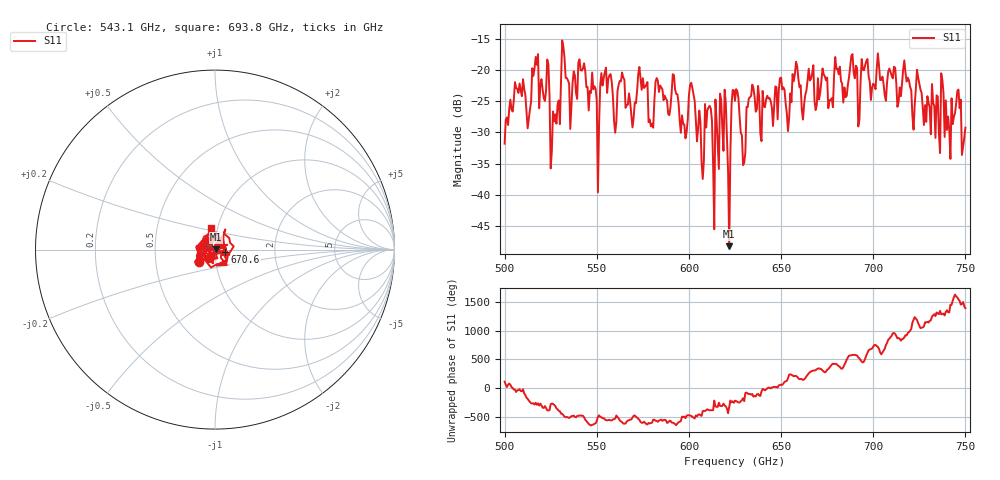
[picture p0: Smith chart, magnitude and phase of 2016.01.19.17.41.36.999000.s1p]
!Created with skrf (http://scikit-rf.org).
# GHz S RI R 50.0
!freq ReS11 ImS11
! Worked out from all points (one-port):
!   401 points, 500 GHz to 750 GHz, reference 50 ohm
!   lowest |S11| = -48.2 dB at 621.9 GHz (marker M1), VSWR 1.01, Z = 50.3 + j0.215 ohm
!   |S11| at or under -10 dB: start of sweep to end of sweep
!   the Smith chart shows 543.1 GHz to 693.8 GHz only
!   S11 on the Smith chart (normalised r, x): 543.1 GHz: 0.83, -0.11; 670.6 GHz: 1.12, -0.03; 693.8 GHz: 0.93, +0.23
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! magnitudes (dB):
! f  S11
! 500 GHz  -31.8
! 506.9 GHz  -23.0
! 513.1 GHz  -27.8
! 516.9 GHz  -17.9
! 526.2 GHz  -26.7
! 531.2 GHz  -15.3
! 543.1 GHz  -19.0
! 550 GHz  -25.0
! 553.8 GHz  -21.3
! 560 GHz  -30.1
! 562.5 GHz  -21.8
! 593.8 GHz  -23.9
! 598.1 GHz  -31.0
! 601.9 GHz  -22.9
! 606.9 GHz  -34.8
! 611.2 GHz  -25.8
! 615 GHz  -28.1
! 618.1 GHz  -29.3
! 621.9 GHz  -48.2
! 625 GHz  -25.0
! 629.4 GHz  -35.3
! 633.8 GHz  -24.2
! 656.2 GHz  -20.7
! 670.6 GHz  -24.8
! 687.5 GHz  -19.4
! 693.8 GHz  -18.3
! 718.8 GHz  -21.3
! 750 GHz  -29.3
